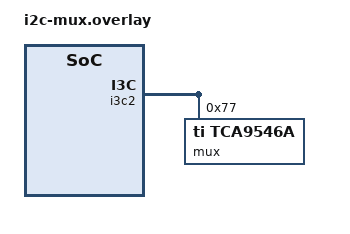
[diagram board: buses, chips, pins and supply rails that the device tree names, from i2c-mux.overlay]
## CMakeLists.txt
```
# SPDX-License-Identifier: Apache-2.0

cmake_minimum_required(VERSION 3.20.0)
find_package(Zephyr REQUIRED HINTS $ENV{ZEPHYR_BASE})
project(stm32h5_i3c)

target_sources(app PRIVATE src/capture_test.c)
```

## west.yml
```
manifest:
  version: 0.8

  projects:
    - name: zephyr
      url: https://github.com/XenuIsWatching/zephyr
      revision: counter-cap-dev
      import:
        file: west.yml
        path-prefix: deps
        name-allowlist:
          - cmsis
          - cmsis_6
          - hal_st
          - hal_stm32

  self:
    path: app
```

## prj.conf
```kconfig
CONFIG_I3C=y
CONFIG_SHELL=y
CONFIG_I3C_SHELL=y

CONFIG_COUNTER=y
CONFIG_COUNTER_CAPTURE=y
CONFIG_COUNTER_SHELL=y

CONFIG_GPIO=y
CONFIG_GPIO_SHELL=y
CONFIG_SENSOR=y
CONFIG_LSM6DSV16X=y

CONFIG_LOG=y
CONFIG_LOG_PRINTK=y
```

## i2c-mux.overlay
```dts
&i3c2 {
        mux: tca9546a@770000000000000000 {
                compatible = "ti,tca9546a";
                reg = <0x77 0x00 0x00>;
                status = "okay";
                #address-cells = <1>;
                #size-cells = <0>;
      
                mux_i2c@0 {
                        compatible = "ti,tca9546a-channel";
                        reg = <0>;
                        #address-cells = <1>;
                        #size-cells = <0>;
        
                        temp_sens_0: tmp116@49 {
                                compatible = "ti,tmp116";
                                reg = <0x49>;
                        };
                };
      
                mux_i2c@1 {
                        compatible = "ti,tca9546a-channel";
                        reg = <1>;
                        #address-cells = <1>;
                        #size-cells = <0>;
        
                        temp_sens_1: tmp116@49 {
                                compatible = "ti,tmp116";
                                reg = <0x49>;
                        };
                };
        };
};
```

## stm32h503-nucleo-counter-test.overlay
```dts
#include <st/h5/stm32h503rbtx-pinctrl.dtsi>

/ {
	zephyr,user {
		capture-tester-gpios = <&gpioc 6 GPIO_ACTIVE_HIGH>,
				       <&gpioc 7 GPIO_ACTIVE_HIGH>;
	};

	counter_loopback_0: counter_loopback {
		compatible = "test-counter-capture";
		/* index order must match the order of the GPIOs for loopback */
		test-counter-captures = <&capture 0 0>,
					<&capture 1 0>;
	};
};

&timers2 {
	st,prescaler = <239>;
	status = "okay";

	capture: counter {
		status = "okay";
		pinctrl-0 = <&tim2_ch1_pa0 &tim2_ch2_pa1>;
		pinctrl-names = "default";
	};
};
```

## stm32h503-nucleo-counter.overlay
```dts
#include <st/h5/stm32h503rbtx-pinctrl.dtsi>

/ {
        zephyr,user {
                capture-tester-gpios = <&gpioc 6 GPIO_ACTIVE_HIGH>,
                                       <&gpioc 7 GPIO_ACTIVE_HIGH>;
        };
};

&timers2 {
        st,prescaler = <239>;
        status = "okay";

        capture: counter {
                status = "okay";
                pinctrl-0 = <&tim2_ch1_pa0 &tim2_ch2_pa1>;
                pinctrl-names = "default";
        };
};
```

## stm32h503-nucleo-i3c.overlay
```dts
&i2c1 {
	status = "disabled";
};

&i3c1 {
	pinctrl-0 = <&i3c1_scl_pb6 &i3c1_sda_pb7>;
	pinctrl-names = "default";
	i3c-scl-hz = <12500000>;
	i2c-scl-hz = <I2C_BITRATE_FAST_PLUS>;
	status = "okay";
};

&i3c2 {
	pinctrl-0 = <&i3c2_scl_pc6 &i3c2_sda_pc7>;
	pinctrl-names = "default";
	i3c-scl-hz = <12500000>;
	i2c-scl-hz = <I2C_BITRATE_FAST_PLUS>;
	status = "okay";
};
```

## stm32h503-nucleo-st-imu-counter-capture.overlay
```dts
#include <st/h5/stm32h503rbtx-pinctrl.dtsi>
#include <zephyr/dt-bindings/sensor/lsm6dsv16x.h>
#include <zephyr/dt-bindings/sensor/lsm6dsvxxx.h>

&i2c1 {
	status = "disabled";
};

&i3c1 {
	pinctrl-0 = <&i3c1_scl_pb6 &i3c1_sda_pb7>;
	pinctrl-names = "default";
	i3c-scl-hz = <12500000>;
	i2c-scl-hz = <I2C_BITRATE_FAST_PLUS>;
	status = "okay";

	lsm6dsv16x_5: lsm6dsv16x@500000803e0000004 {
		compatible = "st,lsm6dsv16x";
		reg = <0x5 0x00000803 0xe0000004>;
		int1-counter-capture = <&capture 0 0>;
		int2-counter-capture = <&capture 1 0>;
		accel-range = <LSM6DSV16X_DT_FS_8G>;
		accel-odr = <LSM6DSVXXX_DT_ODR_AT_60Hz>;
		gyro-range = <LSM6DSV16X_DT_FS_2000DPS>;
		gyro-odr = <LSM6DSVXXX_DT_ODR_AT_60Hz>;
		status = "okay";
	};
};
```

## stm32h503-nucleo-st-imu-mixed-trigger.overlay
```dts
#include <st/h5/stm32h503rbtx-pinctrl.dtsi>
#include <zephyr/dt-bindings/sensor/lsm6dsv16x.h>
#include <zephyr/dt-bindings/sensor/lsm6dsvxxx.h>

&i2c1 {
	status = "disabled";
};

&i3c1 {
	pinctrl-0 = <&i3c1_scl_pb6 &i3c1_sda_pb7>;
	pinctrl-names = "default";
	i3c-scl-hz = <12500000>;
	i2c-scl-hz = <I2C_BITRATE_FAST_PLUS>;
	status = "okay";

	lsm6dsv16x_5: lsm6dsv16x@500000803e0000004 {
		compatible = "st,lsm6dsv16x";
		reg = <0x5 0x00000803 0xe0000004>;
		int1-gpios = <&gpioc 6 GPIO_ACTIVE_HIGH>;
		int2-counter-capture = <&capture 1 0>;
		accel-range = <LSM6DSV16X_DT_FS_8G>;
		accel-odr = <LSM6DSVXXX_DT_ODR_AT_60Hz>;
		gyro-range = <LSM6DSV16X_DT_FS_2000DPS>;
		gyro-odr = <LSM6DSVXXX_DT_ODR_AT_60Hz>;
		status = "okay";
	};
};
```

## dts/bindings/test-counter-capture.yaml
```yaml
#
# Copyright (c) 2026 Meta Platforms
#
# SPDX-License-Identifier: Apache-2.0
#

description: |
    This binding provides resources required to build and run the
    tests/drivers/counter/counter_capture test in Zephyr.

compatible: "test-counter-capture"

properties:
  counter-captures:
    type: phandle-array
    required: true
    description: |
      Counter pins that will be used for capturing a rising and falling edge of a
      gpio signal. The first index is the channel number.
```

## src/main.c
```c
/*
 * Copyright (c) 2024 Ryan McClelland
 *
 * SPDX-License-Identifier: Apache-2.0
 */

#include <stdio.h>
#include <zephyr/kernel.h>
#include <zephyr/drivers/counter.h>
#include <zephyr/drivers/gpio.h>

/* 1000 msec = 1 sec */
#define SLEEP_TIME_MS   1000

/* The devicetree node identifier for the "led0" alias. */
#define LED0_NODE DT_ALIAS(led0)

static const struct gpio_dt_spec led = GPIO_DT_SPEC_GET(LED0_NODE, gpios);

/*
 * for this to work short PC0 to PA0 and PC1 to PA1
 * Pin CN8 1 to Pin CN5 2 and Pin CN8 2 to Pin CN5 1
 */
static const struct gpio_dt_spec capture_tester_gpios[2] = {
	GPIO_DT_SPEC_GET_BY_IDX(DT_PATH(zephyr_user), capture_tester_gpios, 0),
	GPIO_DT_SPEC_GET_BY_IDX(DT_PATH(zephyr_user), capture_tester_gpios, 1),
};

void capture_cb(const struct device *dev, uint8_t chan,
		counter_capture_flags_t flags, uint32_t ticks, void *user_data)
{
	counter_reset(dev);
	printk("Capture callback: channel %d, flags %d, ticks %u, %lluus\n",
		chan, flags, ticks, counter_ticks_to_us(dev, ticks));
}

int main(void)
{
	int ret;
	bool led_state = true;

	if (!gpio_is_ready_dt(&led)) {
		return 0;
	}

	ret = gpio_pin_configure_dt(&led, GPIO_OUTPUT_ACTIVE);
	if (ret < 0) {
		return 0;
	}
#ifdef CONFIG_COUNTER
	const struct device *timer_dev = DEVICE_DT_GET(DT_NODELABEL(capture));

	if (!device_is_ready(timer_dev)) {
		printk("Timer device not ready\n");
		return -ENODEV;
	}

	ret = gpio_pin_configure_dt(&capture_tester_gpios[0], GPIO_OUTPUT_INACTIVE);
	if (ret < 0) {
		printk("Failed to configure capture tester pin\n");
		return -ENODEV;
	}

	ret = gpio_pin_configure_dt(&capture_tester_gpios[1], GPIO_OUTPUT_INACTIVE);
	if (ret < 0) {
		printk("Failed to configure capture tester1 pin\n");
		return -ENODEV;
	}

	printk("Capture enabling on channel 0, freq=%uHz\n",
		counter_get_frequency(timer_dev));
	counter_start(timer_dev);
	counter_capture_callback_set(timer_dev, 0, COUNTER_CAPTURE_BOTH_EDGES,
				      capture_cb, NULL);
	counter_capture_callback_set(timer_dev, 1, COUNTER_CAPTURE_RISING_EDGE,
				      capture_cb, NULL);
	counter_enable_capture(timer_dev, 0);
	counter_enable_capture(timer_dev, 1);
	printk("Capture enabled on channel 0\n");
#endif
	while (1) {
		ret = gpio_pin_toggle_dt(&led);
		if (ret < 0) {
			return 0;
		}

		led_state = !led_state;
		// printf("LED state: %s\n", led_state ? "ON" : "OFF");
		k_msleep(SLEEP_TIME_MS);
	}

	return 0;
}
```

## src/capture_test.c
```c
/*
 * Copyright (c) 2024 Ryan McClelland
 *
 * SPDX-License-Identifier: Apache-2.0
 */

#include <stdio.h>
#include <zephyr/kernel.h>
#include <zephyr/drivers/counter.h>
#include <zephyr/drivers/gpio.h>
#include <zephyr/sys/util.h>
#include <zephyr/ztest.h>

#define NUM_OF_CONTINOUS_CAPTURES 5

/*
 * for this to work short PC0 to PA0 and PC1 to PA1
 * Pin CN8 1 to Pin CN5 2 and Pin CN8 2 to Pin CN5 1
 */
static const struct gpio_dt_spec capture_tester_gpios[] = {
	DT_FOREACH_PROP_ELEM_SEP(DT_PATH(zephyr_user), capture_tester_gpios, GPIO_DT_SPEC_GET_BY_IDX, (,))
 };

const struct counter_capture_dt_spec capture_dt_specs[] = {
	DT_FOREACH_PROP_ELEM_SEP(DT_NODELABEL(counter_loopback_0), test_counter_captures, COUNTER_CAPTURE_DT_SPEC_GET_BY_IDX, (,))
};

K_SEM_DEFINE(capture_sem, 0, 1);

/***************************************************************
 * ISR capture callback
 ***************************************************************/

void capture_cb(const struct device *dev, uint8_t chan, counter_capture_flags_t flags,
		uint32_t ticks, void *user_data)
{
	TC_PRINT("Capture callback: channel %d, flags %d, ticks %u, %lluus\n", chan, flags, ticks,
		 counter_ticks_to_us(dev, ticks));

	k_sem_give(&capture_sem);
}

/***************************************************************
 * Helper cases
 ***************************************************************/

static int counter_capture_test_rising_edge_capture(size_t idx, uint8_t chan_id)
{
	int ret;

	/* Check if GPIO pin is already high, as it needs to be low initially */
	if (gpio_pin_get_dt(&capture_tester_gpios[idx]) == 1) {
		ret = gpio_pin_set_dt(&capture_tester_gpios[idx], 0);
		zassert_ok(ret, "idx %zu channel %u: failed to set GPIO pin low", idx, chan_id);
		/* give it some settling time */
		k_msleep(20);
	}

	/* Set GPIO pin to high to trigger rising edge */
	ret = gpio_pin_set_dt(&capture_tester_gpios[idx], 1);
	zassert_ok(ret, "idx %zu channel %u: failed to set GPIO pin high", idx, chan_id);

	ret = k_sem_take(&capture_sem, K_MSEC(100));
	if (ret != 0) {
		return ret;
	}

	/* Check GPIO pin state */
	ret = gpio_pin_get_dt(&capture_tester_gpios[idx]);
	if (ret == 0) {
		zassert_equal(ret, 1,
			      "idx %zu channel %u: GPIO pin state does not match expected value of high",
			      idx, chan_id);
	} else if (ret != 1) {
		zassert_equal(ret, 0, "idx %zu channel %u: failed to get GPIO pin state", idx,
			      chan_id);
	}

	return 0;
}

static int counter_capture_test_falling_edge_capture(size_t idx, uint8_t chan_id)
{
	int ret;

	/* Check if GPIO pin is already low, as it needs to be high initially */
	if (gpio_pin_get_dt(&capture_tester_gpios[idx]) == 0) {
		ret = gpio_pin_set_dt(&capture_tester_gpios[idx], 1);
		zassert_ok(ret, "idx %zu channel %u: failed to set GPIO pin high", idx, chan_id);
		/* give it some settling time */
		k_msleep(20);
	}

	/* Set GPIO pin to low to trigger falling edge */
	ret = gpio_pin_set_dt(&capture_tester_gpios[idx], 0);
	zassert_ok(ret, "idx %zu channel %u: failed to set GPIO pin low", idx, chan_id);

	ret = k_sem_take(&capture_sem, K_MSEC(100));
	if (ret != 0) {
		return ret;
	}

	/* Check GPIO pin state, expected to be low */
	ret = gpio_pin_get_dt(&capture_tester_gpios[idx]);
	if (ret == 1) {
		zassert_equal(ret, 0,
			      "idx %zu channel %u: GPIO pin state does not match expected value of low",
			      idx, chan_id);
	} else if (ret != 0) {
		zassert_equal(ret, 0, "idx %zu channel %u: failed to get GPIO pin state", idx,
			      chan_id);
	}

	return 0;
}

/***************************************************************
 * Test cases
 ***************************************************************/

ZTEST(counter_capture, test_rising_edge_continous_capture)
{
	int ret;

	for (size_t idx = 0; idx < ARRAY_SIZE(capture_dt_specs); idx++) {
		const struct counter_capture_dt_spec *spec = &capture_dt_specs[idx];

		ret = counter_capture_callback_set(spec->dev, spec->chan_id,
						   COUNTER_CAPTURE_RISING_EDGE |
							   COUNTER_CAPTURE_CONTINUOUS,
						   capture_cb, NULL);
		if (ret == -ENOTSUP) {
			TC_PRINT("idx %zu channel %u: rising edge capture type not supported\n", idx,
				 spec->chan_id);
			continue;
		}

		zassert_ok(ret, "idx %zu channel %u: failed to set capture callback", idx,
			   spec->chan_id);

		ret = counter_enable_capture(spec->dev, spec->chan_id);
		zassert_ok(ret, "idx %zu channel %u: failed to enable capture", idx,
			   spec->chan_id);

		for (uint8_t i = 0; i < NUM_OF_CONTINOUS_CAPTURES; i++) {
			ret = counter_capture_test_rising_edge_capture(idx, spec->chan_id);
			zassert_ok(ret, "idx %zu channel %u: rising edge capture test failed", idx,
				   spec->chan_id);
		}

		ret = counter_disable_capture(spec->dev, spec->chan_id);
		zassert_ok(ret, "idx %zu channel %u: failed to disable capture", idx,
			   spec->chan_id);
	}
}

ZTEST(counter_capture, test_rising_edge_single_capture)
{
	int ret;

	for (size_t idx = 0; idx < ARRAY_SIZE(capture_dt_specs); idx++) {
		const struct counter_capture_dt_spec *spec = &capture_dt_specs[idx];

		ret = counter_capture_callback_set(
			spec->dev, spec->chan_id,
			COUNTER_CAPTURE_RISING_EDGE | COUNTER_CAPTURE_SINGLE_SHOT, capture_cb, NULL);
		if (ret == -ENOTSUP) {
			TC_PRINT("idx %zu channel %u: rising edge capture type not supported\n", idx,
				 spec->chan_id);
			continue;
		}

		zassert_ok(ret, "idx %zu channel %u: failed to set capture callback", idx,
			   spec->chan_id);

		ret = counter_enable_capture(spec->dev, spec->chan_id);
		zassert_ok(ret, "idx %zu channel %u: failed to enable capture", idx,
			   spec->chan_id);

		ret = counter_capture_test_rising_edge_capture(idx, spec->chan_id);
		zassert_ok(ret, "idx %zu channel %u: rising edge capture test failed", idx,
			   spec->chan_id);

		ret = counter_capture_test_rising_edge_capture(idx, spec->chan_id);
		zassert_equal(
			ret, -EAGAIN,
			"idx %zu channel %u: capture callback should not be called after single shot capture",
			idx, spec->chan_id);

		ret = counter_disable_capture(spec->dev, spec->chan_id);
		zassert_ok(ret, "idx %zu channel %u: failed to disable capture", idx,
			   spec->chan_id);
	}
}

ZTEST(counter_capture, test_falling_edge_continous_capture)
{
	int ret;

	for (size_t idx = 0; idx < ARRAY_SIZE(capture_dt_specs); idx++) {
		const struct counter_capture_dt_spec *spec = &capture_dt_specs[idx];

		ret = counter_capture_callback_set(spec->dev, spec->chan_id,
						   COUNTER_CAPTURE_FALLING_EDGE |
							   COUNTER_CAPTURE_CONTINUOUS,
						   capture_cb, NULL);
		if (ret == -ENOTSUP) {
			TC_PRINT("idx %zu channel %u: falling edge capture type not supported\n", idx,
				 spec->chan_id);
			continue;
		}

		zassert_ok(ret, "idx %zu channel %u: failed to set capture callback", idx,
			   spec->chan_id);

		ret = counter_enable_capture(spec->dev, spec->chan_id);
		zassert_ok(ret, "idx %zu channel %u: failed to enable capture", idx,
			   spec->chan_id);

		for (uint8_t i = 0; i < NUM_OF_CONTINOUS_CAPTURES; i++) {
			ret = counter_capture_test_falling_edge_capture(idx, spec->chan_id);
			zassert_ok(ret,
				   "idx %zu channel %u: falling edge capture test failed", idx,
				   spec->chan_id);
		}

		ret = counter_disable_capture(spec->dev, spec->chan_id);
		zassert_ok(ret, "idx %zu channel %u: failed to disable capture", idx,
			   spec->chan_id);
	}
}

ZTEST(counter_capture, test_falling_edge_single_capture)
{
	int ret;

	for (size_t idx = 0; idx < ARRAY_SIZE(capture_dt_specs); idx++) {
		const struct counter_capture_dt_spec *spec = &capture_dt_specs[idx];

		ret = counter_capture_callback_set(
			spec->dev, spec->chan_id,
			COUNTER_CAPTURE_FALLING_EDGE | COUNTER_CAPTURE_SINGLE_SHOT, capture_cb, NULL);
		if (ret == -ENOTSUP) {
			TC_PRINT("idx %zu channel %u: falling edge capture type not supported\n", idx,
				 spec->chan_id);
			continue;
		}

		zassert_ok(ret, "idx %zu channel %u: failed to set capture callback", idx,
			   spec->chan_id);

		ret = counter_enable_capture(spec->dev, spec->chan_id);
		zassert_ok(ret, "idx %zu channel %u: failed to enable capture", idx,
			   spec->chan_id);

		ret = counter_capture_test_falling_edge_capture(idx, spec->chan_id);
		zassert_ok(ret, "idx %zu channel %u: falling edge capture test failed", idx,
			   spec->chan_id);

		ret = counter_capture_test_falling_edge_capture(idx, spec->chan_id);
		zassert_equal(
			ret, -EAGAIN,
			"idx %zu channel %u: capture callback should not be called after single shot capture",
			idx, spec->chan_id);

		ret = counter_disable_capture(spec->dev, spec->chan_id);
		zassert_ok(ret, "idx %zu channel %u: failed to disable capture", idx,
			   spec->chan_id);
	}
}

ZTEST(counter_capture, test_both_edges_continous_capture)
{
	int ret;

	for (size_t idx = 0; idx < ARRAY_SIZE(capture_dt_specs); idx++) {
		const struct counter_capture_dt_spec *spec = &capture_dt_specs[idx];

		ret = counter_capture_callback_set(spec->dev, spec->chan_id,
						   COUNTER_CAPTURE_BOTH_EDGES |
							   COUNTER_CAPTURE_CONTINUOUS,
						   capture_cb, NULL);
		if (ret == -ENOTSUP) {
			TC_PRINT("idx %zu channel %u: both edges capture type not supported\n", idx,
				 spec->chan_id);
			continue;
		}

		zassert_ok(ret, "idx %zu channel %u: failed to set capture callback", idx,
			   spec->chan_id);

		ret = counter_enable_capture(spec->dev, spec->chan_id);
		zassert_ok(ret, "idx %zu channel %u: failed to enable capture", idx,
			   spec->chan_id);

		for (uint8_t i = 0; i < NUM_OF_CONTINOUS_CAPTURES; i++) {
			if (gpio_pin_get_dt(&capture_tester_gpios[idx]) == 0) {
				ret = counter_capture_test_rising_edge_capture(idx, spec->chan_id);
				zassert_ok(ret,
					   "idx %zu channel %u: rising edge capture test failed", idx,
					   spec->chan_id);

				ret = counter_capture_test_falling_edge_capture(idx, spec->chan_id);
				zassert_ok(ret,
					   "idx %zu channel %u: falling edge capture test failed", idx,
					   spec->chan_id);
			} else {
				ret = counter_capture_test_falling_edge_capture(idx, spec->chan_id);
				zassert_ok(ret,
					   "idx %zu channel %u: falling edge capture test failed", idx,
					   spec->chan_id);

				ret = counter_capture_test_rising_edge_capture(idx, spec->chan_id);
				zassert_ok(ret,
					   "idx %zu channel %u: rising edge capture test failed", idx,
					   spec->chan_id);
			}
		}

		ret = counter_disable_capture(spec->dev, spec->chan_id);
		zassert_ok(ret, "idx %zu channel %u: failed to disable capture", idx,
			   spec->chan_id);
	}
}

ZTEST(counter_capture, test_both_edges_single_capture)
{
	int ret;

	for (size_t idx = 0; idx < ARRAY_SIZE(capture_dt_specs); idx++) {
		const struct counter_capture_dt_spec *spec = &capture_dt_specs[idx];

		ret = counter_capture_callback_set(spec->dev, spec->chan_id,
						   COUNTER_CAPTURE_BOTH_EDGES |
							   COUNTER_CAPTURE_SINGLE_SHOT,
						   capture_cb, NULL);
		if (ret == -ENOTSUP) {
			TC_PRINT("idx %zu channel %u: both edges capture type not supported\n", idx,
				 spec->chan_id);
			continue;
		}

		zassert_ok(ret, "idx %zu channel %u: failed to set capture callback", idx,
			   spec->chan_id);

		ret = counter_enable_capture(spec->dev, spec->chan_id);
		zassert_ok(ret, "idx %zu channel %u: failed to enable capture", idx,
			   spec->chan_id);

		if (gpio_pin_get_dt(&capture_tester_gpios[idx]) == 0) {
			ret = counter_capture_test_rising_edge_capture(idx, spec->chan_id);
			zassert_ok(ret, "idx %zu channel %u: rising edge capture test failed", idx,
				   spec->chan_id);

			ret = counter_capture_test_falling_edge_capture(idx, spec->chan_id);
			zassert_equal(
				ret, -EAGAIN,
				"idx %zu channel %u: capture callback should not be called after single shot capture",
				idx, spec->chan_id);
		} else {
			ret = counter_capture_test_falling_edge_capture(idx, spec->chan_id);
			zassert_ok(ret,
				   "idx %zu channel %u: falling edge capture test failed", idx,
				   spec->chan_id);

			ret = counter_capture_test_rising_edge_capture(idx, spec->chan_id);
			zassert_equal(
				ret, -EAGAIN,
				"idx %zu channel %u: capture callback should not be called after single shot capture",
				idx, spec->chan_id);
		}

		ret = counter_disable_capture(spec->dev, spec->chan_id);
		zassert_ok(ret, "idx %zu channel %u: failed to disable capture", idx,
			   spec->chan_id);
	}
}

static void counter_before(void *f)
{
	int ret;

	ARG_UNUSED(f);

	for (size_t idx = 0; idx < ARRAY_SIZE(capture_dt_specs); idx++) {
		const struct counter_capture_dt_spec *spec = &capture_dt_specs[idx];

		ret = counter_reset(spec->dev);
		zassert_ok(ret, "idx %zu channel %u: failed to reset counter", idx,
			   spec->chan_id);

		ret = counter_start(spec->dev);
		zassert_ok(ret, "idx %zu channel %u: failed to start counter", idx,
			   spec->chan_id);
	}
}

static void counter_after(void *f)
{
	int ret;

	ARG_UNUSED(f);

	for (size_t idx = 0; idx < ARRAY_SIZE(capture_dt_specs); idx++) {
		const struct counter_capture_dt_spec *spec = &capture_dt_specs[idx];

		ret = counter_stop(spec->dev);
		zassert_ok(ret, "idx %zu channel %u: failed to stop counter", idx, spec->chan_id);
	}
}

static void *counter_setup(void)
{
	int ret;

	zassert_equal(ARRAY_SIZE(capture_dt_specs), ARRAY_SIZE(capture_tester_gpios),
		      "capture_dt_specs (%zu) and capture_tester_gpios (%zu) size mismatch",
		      ARRAY_SIZE(capture_dt_specs), ARRAY_SIZE(capture_tester_gpios));

	for (size_t idx = 0; idx < ARRAY_SIZE(capture_dt_specs); idx++) {
		const struct counter_capture_dt_spec *spec = &capture_dt_specs[idx];

		zassert_true(device_is_ready(spec->dev),
			     "idx %zu channel %u: counter device is not ready", idx,
			     spec->chan_id);

		zassert_true(gpio_is_ready_dt(&capture_tester_gpios[idx]),
			     "idx %zu channel %u: capture tester GPIO device is not ready", idx,
			     spec->chan_id);

		ret = gpio_pin_configure_dt(&capture_tester_gpios[idx], GPIO_OUTPUT_LOW);
		zassert_ok(ret, "idx %zu channel %u: failed to configure GPIO pin", idx,
			   spec->chan_id);
	}

	return NULL;
}

ZTEST_SUITE(counter_capture, NULL, counter_setup, counter_before, counter_after, NULL);
```
